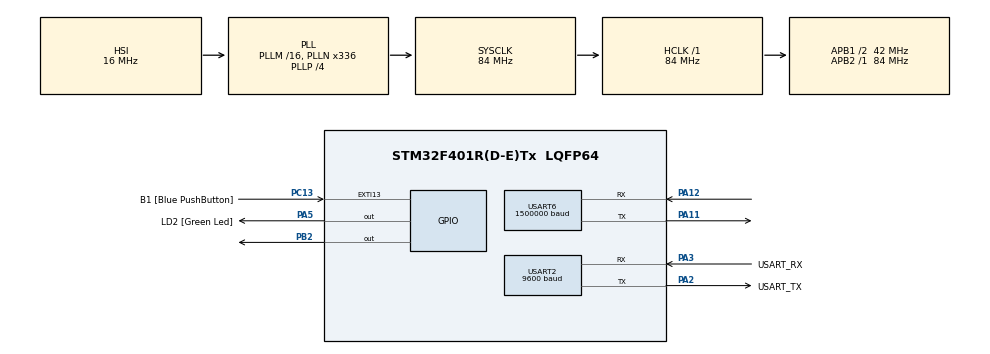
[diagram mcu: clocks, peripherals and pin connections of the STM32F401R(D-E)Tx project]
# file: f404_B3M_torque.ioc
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Mcu.Family=STM32F4
Mcu.Name=STM32F401R(D-E)Tx
Mcu.Package=LQFP64
NVIC.PriorityGroup=NVIC_PRIORITYGROUP_0
NVIC.USART2_IRQn=true\:0\:0\:false\:false\:true\:true\:true
PA11.Mode=Asynchronous
PA11.Signal=USART6_TX
PA12.Mode=Asynchronous
PA12.Signal=USART6_RX
PA13.GPIO_Label=TMS
PA13.Mode=Serial_Wire
PA13.Signal=SYS_JTMS-SWDIO
PA14.GPIO_Label=TCK
PA14.Mode=Serial_Wire
PA14.Signal=SYS_JTCK-SWCLK
PA2.GPIO_Label=USART_TX
PA2.GPIO_Mode=GPIO_MODE_AF_PP
PA2.GPIO_PuPd=GPIO_NOPULL
PA2.GPIO_Speed=GPIO_SPEED_FREQ_LOW
PA2.Mode=Asynchronous
PA2.Signal=USART2_TX
PA3.GPIO_Label=USART_RX
PA3.GPIO_Mode=GPIO_MODE_AF_PP
PA3.GPIO_PuPd=GPIO_NOPULL
PA3.GPIO_Speed=GPIO_SPEED_FREQ_LOW
PA3.Mode=Asynchronous
PA3.Signal=USART2_RX
PA5.GPIO_Label=LD2 [Green Led]
PA5.GPIO_Mode=GPIO_MODE_OUTPUT_PP
PA5.GPIO_PuPd=GPIO_NOPULL
PA5.GPIO_Speed=GPIO_SPEED_FREQ_LOW
PA5.Signal=GPIO_Output
PB2.Signal=GPIO_Output
PB3.GPIO_Label=SWO
PB3.Signal=SYS_JTDO-SWO
PC13-ANTI_TAMP.GPIO_Label=B1 [Blue PushButton]
PC13-ANTI_TAMP.GPIO_ModeDefaultEXTI=GPIO_MODE_IT_FALLING
PC13-ANTI_TAMP.GPIO_PuPd=GPIO_NOPULL
PC13-ANTI_TAMP.Signal=GPXTI13
PC14-OSC32_IN.Mode=LSE-External-Oscillator
PC14-OSC32_IN.Signal=RCC_OSC32_IN
PC15-OSC32_OUT.Mode=LSE-External-Oscillator
PC15-OSC32_OUT.Signal=RCC_OSC32_OUT
PH0\ -\ OSC_IN.Mode=HSE-External-Clock-Source
PH0\ -\ OSC_IN.Signal=RCC_OSC_IN
PH1\ -\ OSC_OUT.Mode=HSE-External-Clock-Source
PH1\ -\ OSC_OUT.Signal=RCC_OSC_OUT
ProjectManager.HeapSize=0x200
ProjectManager.StackSize=0x400
ProjectManager.TargetToolchain=STM32CubeIDE
RCC.48MHZClocksFreq_Value=48000000
RCC.AHBFreq_Value=84000000
RCC.APB1CLKDivider=RCC_HCLK_DIV2
RCC.APB1Freq_Value=42000000
RCC.APB1TimFreq_Value=84000000
RCC.APB2Freq_Value=84000000
RCC.APB2TimFreq_Value=84000000
RCC.CortexFreq_Value=84000000
RCC.HCLKFreq_Value=84000000
RCC.HSE_VALUE=8000000
RCC.HSI_VALUE=16000000
RCC.PLLN=336
RCC.PLLP=RCC_PLLP_DIV4
RCC.PLLQ=7
RCC.SYSCLKFreq_VALUE=84000000
RCC.SYSCLKSource=RCC_SYSCLKSOURCE_PLLCLK
RCC.VCOOutputFreq_Value=336000000
USART2.BaudRate=9600
USART2.VirtualMode=VM_ASYNC
USART6.BaudRate=1500000
USART6.VirtualMode=VM_ASYNC
board=NUCLEO-F401RE

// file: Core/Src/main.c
/* USER CODE BEGIN Header */
/**
  ******************************************************************************
  * @file           : main.c
  * @brief          : Main program body
  ******************************************************************************
  * @attention
  *
  * <h2><center>&copy; Copyright (c) 2022 STMicroelectronics.
  * All rights reserved.</center></h2>
  *
  * This software component is licensed by ST under BSD 3-Clause license,
  * the "License"; You may not use this file except in compliance with the
  * License. You may obtain a copy of the License at:
  *                        opensource.org/licenses/BSD-3-Clause
  *
  ******************************************************************************
  */
/* USER CODE END Header */
#include "main.h"

UART_HandleTypeDef huart2;
UART_HandleTypeDef huart6;

void SystemClock_Config(void);
static void MX_GPIO_Init(void);
static void MX_USART2_UART_Init(void);
static void MX_USART6_UART_Init(void);

/* USER CODE BEGIN 0 */
int gUartReceived = 0;
uint8_t buffer[256];

/* USER CODE END 0 */

int main(void)
{

  /* MCU Configuration--------------------------------------------------------*/

  /* Reset of all peripherals, Initializes the Flash interface and the Systick. */
  HAL_Init();

  /* Configure the system clock */
  SystemClock_Config();

  /* Initialize all configured peripherals */
  MX_GPIO_Init();
  MX_USART2_UART_Init();
  MX_USART6_UART_Init();
  /* USER CODE BEGIN 2 */

  printf("start pos test\r\n");
  uint8_t txdata[9] = {0};
  uint8_t rxdata[20] = {0};
  short torque_val=0, enc_data,dis;

  float pos2enc_tg(int pos){
	  if (pos<0)pos=36000+pos;
	  float deg = pos/100;
	  return 11.375*deg;
  }

  void pos(unsigned char id,short deg,unsigned short time)
  {
    unsigned char deg_l = (unsigned char)(deg)&0x00FF;
    unsigned char deg_h = (unsigned char)(deg>>8)&0x00FF;
    unsigned char time_l = (unsigned char)(time)&0x00FF;
    unsigned char time_h = (unsigned char)(time>>8)&0x00FF;
    unsigned char sum = (0x09+0x06+id+deg_l+deg_h+time_l+time_h)&0x00FF;

    HAL_GPIO_WritePin(GPIOB, GPIO_PIN_2, 1);

    txdata[0]=0x09;   //1 SIZE
    txdata[1]=0x06;   //2 COMMAND
    txdata[2]=0x00;   //3 OPTION
    txdata[3]=id;     //4 ID
    txdata[4]=deg_l;  //5 POS_L
    txdata[5]=deg_h;  //6 POS_H
    txdata[6]=time_l; //7 TIME_L
    txdata[7]=time_h; //8 TIME_H
    txdata[8]=sum;    //9 SUM

	HAL_UART_Transmit(&huart6, txdata, 9, 0xFFFF);
    HAL_Delay(0.03);
    HAL_GPIO_WritePin(GPIOB, GPIO_PIN_2, 0);
  }

  void write(unsigned char id,unsigned char data,unsigned char adress)
  {
      unsigned char sum = (0x08+0x04+0x00+id+data+adress+0x01)&0x00FF;
     HAL_GPIO_WritePin(GPIOB, GPIO_PIN_2, 1);
     txdata[0]=0x08;   //1 SIZE
     txdata[1]=0x04;   //2 COMMAND
     txdata[2]=0x00;   //3 OPTION
     txdata[3]=id;     //4 ID
     txdata[4]=data;  //DATA
     txdata[5]=adress;  //ADRESS
     txdata[6]=0x01; //COUNT
     txdata[7]=sum;    //9 SUM

     HAL_UART_Transmit(&huart6, txdata, 8, 0xFFFF);
     HAL_Delay(0.03);
     HAL_GPIO_WritePin(GPIOB, GPIO_PIN_2, 0);

  }
  void read(unsigned char id,unsigned char address,unsigned char length)
  {
	  HAL_GPIO_WritePin(GPIOB, GPIO_PIN_2, 1);
      unsigned char sum = (0x07+0x03+0x00+id+address+length)&0x00FF;
      txdata[0]=0x07;       //SIZE
      txdata[1]=0x03;       //COMMAND
      txdata[2]=0x00;       //OPTION
      txdata[3]=id;         //ID
      txdata[4]=address;    //ADDRESS(Current 0x48,MotorTemperature 0x46)
      txdata[5]=length;     //LENGTH byte
      txdata[6]=sum;        //SUM
      HAL_UART_Transmit(&huart6, txdata, 7, 0xFFFF);
//      HAL_Delay(0.03);
      HAL_GPIO_WritePin(GPIOB, GPIO_PIN_2, 0);
      //wait(0.001);
  }
  float enc_tg=pos2enc_tg(0);

//  printf("target encoder is %5.2f\r\n",enc_tg);

  HAL_Delay(3000);
  write(0x02,0x00,0x28);
  write(0x02,0x00,0x5C);
  write(0x02,0x01,0x29);

  HAL_UART_Receive_IT(&huart2, buffer,6);

  /* USER CODE END 2 */

  /* Infinite loop */
  /* USER CODE BEGIN WHILE */
  while (1)
  {
//-------------pos test--------------------
	  pos(0x02,32000,2000);
	  HAL_Delay(5000);
	  pos(0x02,-32000,2000);
	  HAL_Delay(5000);
    /* USER CODE END WHILE */

  }
}

void SystemClock_Config(void)
{
  RCC_OscInitTypeDef RCC_OscInitStruct = {0};
  RCC_ClkInitTypeDef RCC_ClkInitStruct = {0};

  /** Configure the main internal regulator output voltage
  */
  __HAL_RCC_PWR_CLK_ENABLE();
  __HAL_PWR_VOLTAGESCALING_CONFIG(PWR_REGULATOR_VOLTAGE_SCALE2);
  /** Initializes the RCC Oscillators according to the specified parameters
  * in the RCC_OscInitTypeDef structure.
  */
  RCC_OscInitStruct.OscillatorType = RCC_OSCILLATORTYPE_HSI;
  RCC_OscInitStruct.HSIState = RCC_HSI_ON;
  RCC_OscInitStruct.HSICalibrationValue = RCC_HSICALIBRATION_DEFAULT;
  RCC_OscInitStruct.PLL.PLLState = RCC_PLL_ON;
  RCC_OscInitStruct.PLL.PLLSource = RCC_PLLSOURCE_HSI;
  RCC_OscInitStruct.PLL.PLLM = 16;
  RCC_OscInitStruct.PLL.PLLN = 336;
  RCC_OscInitStruct.PLL.PLLP = RCC_PLLP_DIV4;
  RCC_OscInitStruct.PLL.PLLQ = 7;
  if (HAL_RCC_OscConfig(&RCC_OscInitStruct) != HAL_OK)
  {
    Error_Handler();
  }
  /** Initializes the CPU, AHB and APB buses clocks
  */
  RCC_ClkInitStruct.ClockType = RCC_CLOCKTYPE_HCLK|RCC_CLOCKTYPE_SYSCLK
                              |RCC_CLOCKTYPE_PCLK1|RCC_CLOCKTYPE_PCLK2;
  RCC_ClkInitStruct.SYSCLKSource = RCC_SYSCLKSOURCE_PLLCLK;
  RCC_ClkInitStruct.AHBCLKDivider = RCC_SYSCLK_DIV1;
  RCC_ClkInitStruct.APB1CLKDivider = RCC_HCLK_DIV2;
  RCC_ClkInitStruct.APB2CLKDivider = RCC_HCLK_DIV1;

  if (HAL_RCC_ClockConfig(&RCC_ClkInitStruct, FLASH_LATENCY_2) != HAL_OK)
  {
    Error_Handler();
  }
}

static void MX_USART2_UART_Init(void)
{

  huart2.Instance = USART2;
  huart2.Init.BaudRate = 9600;
  huart2.Init.WordLength = UART_WORDLENGTH_8B;
  huart2.Init.StopBits = UART_STOPBITS_1;
  huart2.Init.Parity = UART_PARITY_NONE;
  huart2.Init.Mode = UART_MODE_TX_RX;
  huart2.Init.HwFlowCtl = UART_HWCONTROL_NONE;
  huart2.Init.OverSampling = UART_OVERSAMPLING_16;
  if (HAL_UART_Init(&huart2) != HAL_OK)
  {
    Error_Handler();
  }

}

static void MX_USART6_UART_Init(void)
{

  huart6.Instance = USART6;
  huart6.Init.BaudRate = 1500000;
  huart6.Init.WordLength = UART_WORDLENGTH_8B;
  huart6.Init.StopBits = UART_STOPBITS_1;
  huart6.Init.Parity = UART_PARITY_NONE;
  huart6.Init.Mode = UART_MODE_TX_RX;
  huart6.Init.HwFlowCtl = UART_HWCONTROL_NONE;
  huart6.Init.OverSampling = UART_OVERSAMPLING_16;
  if (HAL_UART_Init(&huart6) != HAL_OK)
  {
    Error_Handler();
  }

}

static void MX_GPIO_Init(void)
{
  GPIO_InitTypeDef GPIO_InitStruct = {0};

  /* GPIO Ports Clock Enable */
  __HAL_RCC_GPIOC_CLK_ENABLE();
  __HAL_RCC_GPIOH_CLK_ENABLE();
  __HAL_RCC_GPIOA_CLK_ENABLE();
  __HAL_RCC_GPIOB_CLK_ENABLE();

  /*Configure GPIO pin Output Level */
  HAL_GPIO_WritePin(LD2_GPIO_Port, LD2_Pin, GPIO_PIN_RESET);

  /*Configure GPIO pin Output Level */
  HAL_GPIO_WritePin(GPIOB, GPIO_PIN_2, GPIO_PIN_RESET);

  /*Configure GPIO pin : B1_Pin */
  GPIO_InitStruct.Pin = B1_Pin;
  GPIO_InitStruct.Mode = GPIO_MODE_IT_FALLING;
  GPIO_InitStruct.Pull = GPIO_NOPULL;
  HAL_GPIO_Init(B1_GPIO_Port, &GPIO_InitStruct);

  /*Configure GPIO pin : LD2_Pin */
  GPIO_InitStruct.Pin = LD2_Pin;
  GPIO_InitStruct.Mode = GPIO_MODE_OUTPUT_PP;
  GPIO_InitStruct.Pull = GPIO_NOPULL;
  GPIO_InitStruct.Speed = GPIO_SPEED_FREQ_LOW;
  HAL_GPIO_Init(LD2_GPIO_Port, &GPIO_InitStruct);

  /*Configure GPIO pin : PB2 */
  GPIO_InitStruct.Pin = GPIO_PIN_2;
  GPIO_InitStruct.Mode = GPIO_MODE_OUTPUT_PP;
  GPIO_InitStruct.Pull = GPIO_NOPULL;
  GPIO_InitStruct.Speed = GPIO_SPEED_FREQ_LOW;
  HAL_GPIO_Init(GPIOB, &GPIO_InitStruct);

}

/* USER CODE BEGIN 4 */
void HAL_UART_RxCpltCallback(UART_HandleTypeDef *huart)
{
	gUartReceived = 1;
	HAL_UART_Receive_IT(&huart2, buffer,6);
}
int _write(int file, char *ptr, int len)
{
  HAL_UART_Transmit(&huart2,(uint8_t *)ptr,len,50);
  return len;
}
/* USER CODE END 4 */

void Error_Handler(void)
{
  __disable_irq();
  while (1)
  {
  }
}

/************************ (C) COPYRIGHT STMicroelectronics *****END OF FILE****/
